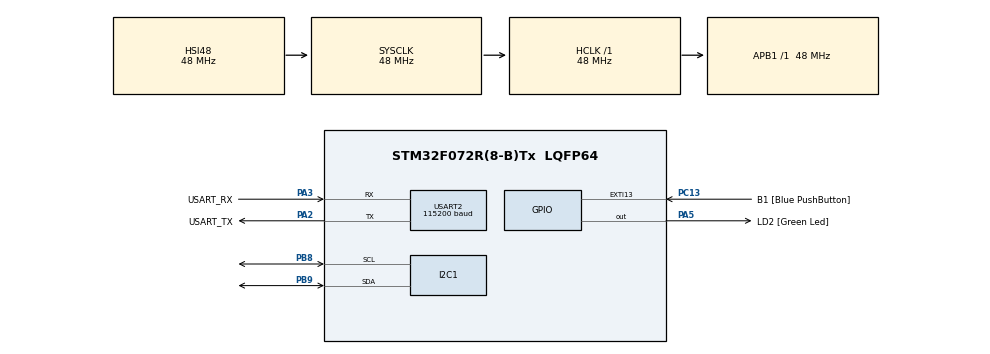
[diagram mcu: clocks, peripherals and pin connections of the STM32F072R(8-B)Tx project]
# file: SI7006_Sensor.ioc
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Mcu.Family=STM32F0
Mcu.Name=STM32F072R(8-B)Tx
Mcu.Package=LQFP64
PA13.GPIO_Label=TMS
PA13.Mode=Serial_Wire
PA13.Signal=SYS_SWDIO
PA14.GPIO_Label=TCK
PA14.Mode=Serial_Wire
PA14.Signal=SYS_SWCLK
PA2.GPIO_Label=USART_TX
PA2.GPIO_Mode=GPIO_MODE_AF_PP
PA2.GPIO_PuPd=GPIO_NOPULL
PA2.GPIO_Speed=GPIO_SPEED_FREQ_LOW
PA2.Mode=Asynchronous
PA2.Signal=USART2_TX
PA3.GPIO_Label=USART_RX
PA3.GPIO_Mode=GPIO_MODE_AF_PP
PA3.GPIO_PuPd=GPIO_NOPULL
PA3.GPIO_Speed=GPIO_SPEED_FREQ_LOW
PA3.Mode=Asynchronous
PA3.Signal=USART2_RX
PA5.GPIO_Label=LD2 [Green Led]
PA5.GPIO_Mode=GPIO_MODE_OUTPUT_PP
PA5.GPIO_PuPd=GPIO_NOPULL
PA5.GPIO_Speed=GPIO_SPEED_FREQ_LOW
PA5.Signal=GPIO_Output
PB8.Mode=I2C
PB8.Signal=I2C1_SCL
PB9.Mode=I2C
PB9.Signal=I2C1_SDA
PC13.GPIO_Label=B1 [Blue PushButton]
PC13.GPIO_ModeDefaultEXTI=GPIO_MODE_IT_FALLING
PC13.Signal=GPXTI13
PC14-OSC32_IN.Mode=LSE-External-Oscillator
PC14-OSC32_IN.Signal=RCC_OSC32_IN
PC15-OSC32_OUT.Mode=LSE-External-Oscillator
PC15-OSC32_OUT.Signal=RCC_OSC32_OUT
PF0-OSC_IN.Mode=HSE-External-Clock-Source
PF0-OSC_IN.Signal=RCC_OSC_IN
PF1-OSC_OUT.Signal=RCC_OSC_OUT
ProjectManager.HeapSize=0x200
ProjectManager.StackSize=0x400
ProjectManager.TargetToolchain=STM32CubeIDE
RCC.AHBFreq_Value=48000000
RCC.APB1Freq_Value=48000000
RCC.APB1TimFreq_Value=48000000
RCC.FLatency-AdvancedSettings=FLASH_LATENCY_1
RCC.HCLKFreq_Value=48000000
RCC.PLLDivider=RCC_PREDIV_DIV2
RCC.PLLMUL=RCC_PLL_MUL12
RCC.PREFETCH_ENABLE-AdvancedSettings=1
RCC.SYSCLKFreq_VALUE=48000000
RCC.SYSCLKSource=RCC_SYSCLKSOURCE_HSI48
USART2.BaudRate=115200
USART2.VirtualMode=VM_ASYNC
USART2.VirtualMode-Asynchronous=VM_ASYNC
board=NUCLEO-F072RB

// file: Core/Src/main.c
/* USER CODE BEGIN Header */
/**
  ******************************************************************************
  * @file           : main.c
  * @brief          : Main program body
  ******************************************************************************
  * @attention
  *
  * Copyright (c) 2024 STMicroelectronics.
  * All rights reserved.
  *
  * This software is licensed under terms that can be found in the LICENSE file
  * in the root directory of this software component.
  * If no LICENSE file comes with this software, it is provided AS-IS.
  *
  ******************************************************************************
  */
/* USER CODE END Header */
#include "main.h"

/* USER CODE BEGIN Includes */
#include <stdio.h>
#include "string.h"
/* USER CODE END Includes */

/* USER CODE BEGIN PD */
#define SI7006_ADDR 0x40 << 1       /* I2C Slave Address of SI7006 */
/* USER CODE END PD */

I2C_HandleTypeDef hi2c1;          /* I2C Enable */

UART_HandleTypeDef huart2;

void SystemClock_Config(void);
static void MX_GPIO_Init(void);
static void MX_USART2_UART_Init(void);
static void MX_I2C1_Init(void);
/* USER CODE BEGIN PFP */
#define PUTCHAR_PROTOTYPE int __io_putchar(int ch)                 /* For Prinf & Scanf */
#define GETCHAR_PROTOTYPE int __io_getchar(void)

PUTCHAR_PROTOTYPE {
    HAL_UART_Transmit(&huart2, (uint8_t *)&ch, 1, HAL_MAX_DELAY);
    return ch;
}

GETCHAR_PROTOTYPE {
    uint8_t ch = 0;
    __HAL_UART_CLEAR_OREFLAG(&huart2);
    HAL_UART_Receive(&huart2, (uint8_t *)&ch, 1, HAL_MAX_DELAY);
    HAL_UART_Transmit(&huart2, (uint8_t *)&ch, 1, HAL_MAX_DELAY);
    return ch;
}

void SI7006_Init(void);
float SI7006_ReadTemperature(void);
float SI7006_ReadHumidity(void);

/* USER CODE END PFP */

int main(void)
{
  /* USER CODE BEGIN 1 */
	setvbuf(stdin, NULL, _IONBF, 0);        /* For Prinf & Scanf */
  /* USER CODE END 1 */

  /* MCU Configuration--------------------------------------------------------*/

  /* Reset of all peripherals, Initializes the Flash interface and the Systick. */
  HAL_Init();

  /* Configure the system clock */
  SystemClock_Config();

  /* Initialize all configured peripherals */
  MX_GPIO_Init();
  MX_USART2_UART_Init();
  MX_I2C1_Init();
  /* USER CODE BEGIN 2 */
  SI7006_Init();
  /* USER CODE END 2 */

  /* Infinite loop */
  while (1)
  {

    /* USER CODE BEGIN 3 */
      float temp = SI7006_ReadTemperature();
      float humidity = SI7006_ReadHumidity();

      printf("Temperature: %.2f C\r\n", temp);
      printf("Humidity: %.2f %%\r\n", humidity);

      HAL_Delay(1000);
  }
  /* USER CODE END 3 */
}

void SystemClock_Config(void)
{
  RCC_OscInitTypeDef RCC_OscInitStruct = {0};
  RCC_ClkInitTypeDef RCC_ClkInitStruct = {0};
  RCC_PeriphCLKInitTypeDef PeriphClkInit = {0};

  /** Initializes the RCC Oscillators according to the specified parameters
  * in the RCC_OscInitTypeDef structure.
  */
  RCC_OscInitStruct.OscillatorType = RCC_OSCILLATORTYPE_HSI|RCC_OSCILLATORTYPE_HSI48;
  RCC_OscInitStruct.HSIState = RCC_HSI_ON;
  RCC_OscInitStruct.HSI48State = RCC_HSI48_ON;
  RCC_OscInitStruct.HSICalibrationValue = RCC_HSICALIBRATION_DEFAULT;
  RCC_OscInitStruct.PLL.PLLState = RCC_PLL_NONE;
  if (HAL_RCC_OscConfig(&RCC_OscInitStruct) != HAL_OK)
  {
    Error_Handler();
  }
  /** Initializes the CPU, AHB and APB buses clocks
  */
  RCC_ClkInitStruct.ClockType = RCC_CLOCKTYPE_HCLK|RCC_CLOCKTYPE_SYSCLK
                              |RCC_CLOCKTYPE_PCLK1;
  RCC_ClkInitStruct.SYSCLKSource = RCC_SYSCLKSOURCE_HSI48;
  RCC_ClkInitStruct.AHBCLKDivider = RCC_SYSCLK_DIV1;
  RCC_ClkInitStruct.APB1CLKDivider = RCC_HCLK_DIV1;

  if (HAL_RCC_ClockConfig(&RCC_ClkInitStruct, FLASH_LATENCY_1) != HAL_OK)
  {
    Error_Handler();
  }
  PeriphClkInit.PeriphClockSelection = RCC_PERIPHCLK_USART2|RCC_PERIPHCLK_I2C1;
  PeriphClkInit.Usart2ClockSelection = RCC_USART2CLKSOURCE_PCLK1;
  PeriphClkInit.I2c1ClockSelection = RCC_I2C1CLKSOURCE_HSI;
  if (HAL_RCCEx_PeriphCLKConfig(&PeriphClkInit) != HAL_OK)
  {
    Error_Handler();
  }
}

static void MX_I2C1_Init(void)
{

  hi2c1.Instance = I2C1;
  hi2c1.Init.Timing = 0x2000090E;
  hi2c1.Init.OwnAddress1 = 0;
  hi2c1.Init.AddressingMode = I2C_ADDRESSINGMODE_7BIT;
  hi2c1.Init.DualAddressMode = I2C_DUALADDRESS_DISABLE;
  hi2c1.Init.OwnAddress2 = 0;
  hi2c1.Init.OwnAddress2Masks = I2C_OA2_NOMASK;
  hi2c1.Init.GeneralCallMode = I2C_GENERALCALL_DISABLE;
  hi2c1.Init.NoStretchMode = I2C_NOSTRETCH_DISABLE;
  if (HAL_I2C_Init(&hi2c1) != HAL_OK)
  {
    Error_Handler();
  }
  /** Configure Analogue filter
  */
  if (HAL_I2CEx_ConfigAnalogFilter(&hi2c1, I2C_ANALOGFILTER_ENABLE) != HAL_OK)
  {
    Error_Handler();
  }
  /** Configure Digital filter
  */
  if (HAL_I2CEx_ConfigDigitalFilter(&hi2c1, 0) != HAL_OK)
  {
    Error_Handler();
  }

}

static void MX_USART2_UART_Init(void)
{

  huart2.Instance = USART2;
  huart2.Init.BaudRate = 115200;
  huart2.Init.WordLength = UART_WORDLENGTH_8B;
  huart2.Init.StopBits = UART_STOPBITS_1;
  huart2.Init.Parity = UART_PARITY_NONE;
  huart2.Init.Mode = UART_MODE_TX_RX;
  huart2.Init.HwFlowCtl = UART_HWCONTROL_NONE;
  huart2.Init.OverSampling = UART_OVERSAMPLING_16;
  huart2.Init.OneBitSampling = UART_ONE_BIT_SAMPLE_DISABLE;
  huart2.AdvancedInit.AdvFeatureInit = UART_ADVFEATURE_NO_INIT;
  if (HAL_UART_Init(&huart2) != HAL_OK)
  {
    Error_Handler();
  }

}

static void MX_GPIO_Init(void)
{
  GPIO_InitTypeDef GPIO_InitStruct = {0};

  /* GPIO Ports Clock Enable */
  __HAL_RCC_GPIOC_CLK_ENABLE();
  __HAL_RCC_GPIOF_CLK_ENABLE();
  __HAL_RCC_GPIOA_CLK_ENABLE();
  __HAL_RCC_GPIOB_CLK_ENABLE();

  /*Configure GPIO pin Output Level */
  HAL_GPIO_WritePin(GPIOA, GPIO_PIN_5, GPIO_PIN_RESET);

  /*Configure GPIO pin : PC13 */
  GPIO_InitStruct.Pin = GPIO_PIN_13;
  GPIO_InitStruct.Mode = GPIO_MODE_IT_FALLING;
  GPIO_InitStruct.Pull = GPIO_NOPULL;
  HAL_GPIO_Init(GPIOC, &GPIO_InitStruct);

  /*Configure GPIO pin : PA5 */
  GPIO_InitStruct.Pin = GPIO_PIN_5;
  GPIO_InitStruct.Mode = GPIO_MODE_OUTPUT_PP;
  GPIO_InitStruct.Pull = GPIO_NOPULL;
  GPIO_InitStruct.Speed = GPIO_SPEED_FREQ_LOW;
  HAL_GPIO_Init(GPIOA, &GPIO_InitStruct);

}

/* USER CODE BEGIN 4 */
void SI7006_Init(void)
{
    uint8_t initCmd = 0xFE; // Reset Address

    HAL_I2C_Master_Transmit(&hi2c1, SI7006_ADDR, &initCmd, 1, HAL_MAX_DELAY);
    HAL_Delay(20); // Delay for 20 ms after reset
}

float SI7006_ReadTemperature(void)
{
    uint8_t tempCmd = 0xF3; // Temperature Register Address
    uint8_t data[2];
    int16_t rawTemp;

    HAL_I2C_Master_Transmit(&hi2c1, SI7006_ADDR, &tempCmd, 1, HAL_MAX_DELAY);
    HAL_Delay(15);

    HAL_I2C_Master_Receive(&hi2c1, SI7006_ADDR, data, 2, HAL_MAX_DELAY);

    rawTemp = (data[0] << 8) | data[1];
    return ((175.72 * rawTemp) / 65536.0) - 46.85;
}

float SI7006_ReadHumidity(void)
{
    uint8_t humCmd = 0xF5; // Humidity Register Address
    uint8_t data[2];
    int16_t rawHumidity;

    HAL_I2C_Master_Transmit(&hi2c1, SI7006_ADDR, &humCmd, 1, HAL_MAX_DELAY);
    HAL_Delay(15); // Delay

    HAL_I2C_Master_Receive(&hi2c1, SI7006_ADDR, data, 2, HAL_MAX_DELAY);

    rawHumidity = (data[0] << 8) | data[1];
    return ((125.0 * rawHumidity) / 65536.0) - 6.0;
}

/* USER CODE END 4 */

void Error_Handler(void)
{
  __disable_irq();
  while (1)
  {
  }
}
